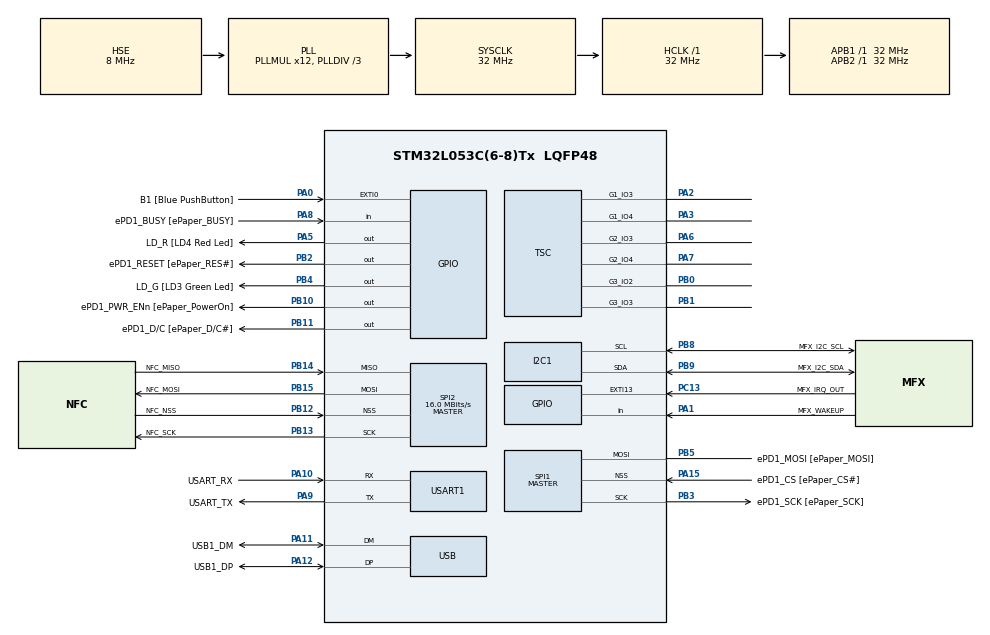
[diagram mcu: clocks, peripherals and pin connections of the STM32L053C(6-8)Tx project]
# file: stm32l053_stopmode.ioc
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Mcu.Family=STM32L0
Mcu.Name=STM32L053C(6-8)Tx
Mcu.Package=LQFP48
PA0.GPIO_Label=B1 [Blue PushButton]
PA0.GPIO_ModeDefaultEXTI=GPIO_MODE_EVT_RISING
PA0.GPIO_PuPd=GPIO_NOPULL
PA0.Signal=GPXTI0
PA1.GPIO_Label=MFX_WAKEUP
PA1.Signal=GPIO_Input
PA10.GPIO_Label=USART_RX
PA10.Mode=Asynchronous
PA10.Signal=USART1_RX
PA11.GPIO_Label=USB1_DM
PA11.Mode=Device
PA11.Signal=USB_DM
PA12.GPIO_Label=USB1_DP
PA12.Mode=Device
PA12.Signal=USB_DP
PA13.GPIO_Label=SWDIO
PA13.Mode=Serial_Wire
PA13.Signal=SYS_SWDIO
PA14.GPIO_Label=SWCLK
PA14.Mode=Serial_Wire
PA14.Signal=SYS_SWCLK
PA15.GPIO_Label=ePD1_CS [ePaper_CS\#]
PA15.GPIO_Mode=GPIO_MODE_AF_PP
PA15.GPIO_PuPd=GPIO_NOPULL
PA15.GPIO_Speed=GPIO_SPEED_FREQ_LOW
PA15.Mode=NSS_Signal_Hard_Input
PA15.Signal=SPI1_NSS
PA2.Mode=G1_IO3-Channel
PA2.Signal=TSC_G1_IO3
PA3.Mode=G1_IO4-Sampling
PA3.Signal=TSC_G1_IO4
PA5.GPIO_Label=LD_R [LD4 Red Led]
PA5.GPIO_ModeDefaultOutputPP=GPIO_MODE_OUTPUT_PP
PA5.GPIO_PuPd=GPIO_NOPULL
PA5.GPIO_Speed=GPIO_SPEED_FREQ_LOW
PA5.Signal=GPIO_Output
PA6.Mode=G2_IO3-Channel
PA6.Signal=TSC_G2_IO3
PA7.Mode=G2_IO4-Sampling
PA7.Signal=TSC_G2_IO4
PA8.GPIO_Label=ePD1_BUSY [ePaper_BUSY]
PA8.GPIO_Mode=GPIO_MODE_INPUT
PA8.GPIO_PuPd=GPIO_NOPULL
PA8.Signal=GPIO_Input
PA9.GPIO_Label=USART_TX
PA9.Mode=Asynchronous
PA9.Signal=USART1_TX
PB0.Mode=G3_IO2-Channel
PB0.Signal=TSC_G3_IO2
PB1.Mode=G3_IO3-Sampling
PB1.Signal=TSC_G3_IO3
PB10.GPIO_Label=ePD1_PWR_ENn [ePaper_PowerOn]
PB10.GPIO_ModeDefaultOutputPP=GPIO_MODE_OUTPUT_PP
PB10.GPIO_PuPd=GPIO_NOPULL
PB10.GPIO_Speed=GPIO_SPEED_FREQ_LOW
PB10.Signal=GPIO_Output
PB11.GPIO_Label=ePD1_D/C [ePaper_D/C\#]
PB11.GPIO_ModeDefaultOutputPP=GPIO_MODE_OUTPUT_PP
PB11.GPIO_PuPd=GPIO_NOPULL
PB11.GPIO_Speed=GPIO_SPEED_FREQ_LOW
PB11.Signal=GPIO_Output
PB12.GPIO_Label=NFC_NSS
PB12.Mode=NSS_Signal_Hard_Input
PB12.Signal=SPI2_NSS
PB13.GPIO_Label=NFC_SCK
PB13.Mode=Full_Duplex_Master
PB13.Signal=SPI2_SCK
PB14.GPIO_Label=NFC_MISO
PB14.Mode=Full_Duplex_Master
PB14.Signal=SPI2_MISO
PB15.GPIO_Label=NFC_MOSI
PB15.Mode=Full_Duplex_Master
PB15.Signal=SPI2_MOSI
PB2.GPIO_Label=ePD1_RESET [ePaper_RES\#]
PB2.GPIO_ModeDefaultOutputPP=GPIO_MODE_OUTPUT_PP
PB2.GPIO_PuPd=GPIO_NOPULL
PB2.GPIO_Speed=GPIO_SPEED_FREQ_LOW
PB2.Signal=GPIO_Output
PB3.GPIO_Label=ePD1_SCK [ePaper_SCK]
PB3.GPIO_Mode=GPIO_MODE_AF_PP
PB3.GPIO_PuPd=GPIO_NOPULL
PB3.GPIO_Speed=GPIO_SPEED_FREQ_LOW
PB3.Mode=Simplex_Bidirectional_Master
PB3.Signal=SPI1_SCK
PB4.GPIO_Label=LD_G [LD3 Green Led]
PB4.GPIO_ModeDefaultOutputPP=GPIO_MODE_OUTPUT_PP
PB4.GPIO_PuPd=GPIO_NOPULL
PB4.GPIO_Speed=GPIO_SPEED_FREQ_LOW
PB4.Signal=GPIO_Output
PB5.GPIO_Label=ePD1_MOSI [ePaper_MOSI]
PB5.GPIO_Mode=GPIO_MODE_AF_PP
PB5.GPIO_PuPd=GPIO_NOPULL
PB5.GPIO_Speed=GPIO_SPEED_FREQ_LOW
PB5.Mode=Simplex_Bidirectional_Master
PB5.Signal=SPI1_MOSI
PB8.GPIO_Label=MFX_I2C_SCL
PB8.Mode=I2C
PB8.Signal=I2C1_SCL
PB9.GPIO_Label=MFX_I2C_SDA
PB9.Mode=I2C
PB9.Signal=I2C1_SDA
PC13.GPIO_Label=MFX_IRQ_OUT
PC13.Signal=GPXTI13
PC14-OSC32_IN.GPIO_Label=PC14-OSC32_IN
PC14-OSC32_IN.Signal=RCC_OSC32_IN
PC15-OSC32_OUT.GPIO_Label=PC15-OSC32_OUT
PC15-OSC32_OUT.Signal=RCC_OSC32_OUT
PH0-OSC_IN.GPIO_Label=MCO
PH0-OSC_IN.Mode=HSE-External-Clock-Source
PH0-OSC_IN.Signal=RCC_OSC_IN
ProjectManager.HeapSize=0x200
ProjectManager.StackSize=0x400
ProjectManager.TargetToolchain=Makefile
RCC.AHBFreq_Value=32000000
RCC.APB1Freq_Value=32000000
RCC.APB1TimFreq_Value=32000000
RCC.APB2Freq_Value=32000000
RCC.APB2TimFreq_Value=32000000
RCC.HCLKFreq_Value=32000000
RCC.HSE_VALUE=8000000
RCC.HSI16_VALUE=16000000
RCC.HSI48MClockSelection=RCC_USBCLKSOURCE_HSI48
RCC.HSI48_VALUE=48000000
RCC.HSI_VALUE=16000000
RCC.LSE_VALUE=32768
RCC.MSI_VALUE=2097000
RCC.PLLDIV=RCC_PLLDIV_3
RCC.PLLMUL=RCC_PLLMUL_12
RCC.PLLSourceVirtual=RCC_PLLSOURCE_HSE
RCC.RTCClockSelectionVirtual=RCC_RTCCLKSOURCE_LSE
RCC.SYSCLKFreq_VALUE=32000000
RCC.SYSCLKSource=RCC_SYSCLKSOURCE_PLLCLK
RCC.VCOOutputFreq_Value=96000000
SPI1.CalculateBaudRate-Simplex_Bidirectional_Master=16.0 MBits/s
SPI1.Direction=SPI_DIRECTION_1LINE
SPI1.Direction-Simplex_Bidirectional_Master=SPI_DIRECTION_1LINE
SPI1.Mode=SPI_MODE_MASTER
SPI1.Mode-Simplex_Bidirectional_Master=SPI_MODE_MASTER
SPI1.NSS-Simplex_Bidirectional_Master=SPI_NSS_HARD_OUTPUT
SPI1.TIMode-Simplex_Bidirectional_Master=SPI_TIMODE_DISABLE
SPI1.VirtualNSS=VM_NSSHARD
SPI1.VirtualType=VM_MASTER
SPI2.CalculateBaudRate=16.0 MBits/s
SPI2.Direction=SPI_DIRECTION_2LINES
SPI2.Mode=SPI_MODE_MASTER
SPI2.VirtualNSS=VM_NSSHARD
SPI2.VirtualType=VM_MASTER
USART1.VirtualMode-Asynchronous=VM_ASYNC
board=32L0538DISCOVERY

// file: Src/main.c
/* USER CODE BEGIN Header */
/**
  ******************************************************************************
  * @file           : main.c
  * @brief          : Main program body
  ******************************************************************************
  ** This notice applies to any and all portions of this file
  * that are not between comment pairs USER CODE BEGIN and
  * USER CODE END. Other portions of this file, whether
  * inserted by the user or by software development tools
  * are owned by their respective copyright owners.
  *
  * COPYRIGHT(c) 2019 STMicroelectronics
  *
  * Redistribution and use in source and binary forms, with or without modification,
  * are permitted provided that the following conditions are met:
  *   1. Redistributions of source code must retain the above copyright notice,
  *      this list of conditions and the following disclaimer.
  *   2. Redistributions in binary form must reproduce the above copyright notice,
  *      this list of conditions and the following disclaimer in the documentation
  *      and/or other materials provided with the distribution.
  *   3. Neither the name of STMicroelectronics nor the names of its contributors
  *      may be used to endorse or promote products derived from this software
  *      without specific prior written permission.
  *
  * THIS SOFTWARE IS PROVIDED BY THE COPYRIGHT HOLDERS AND CONTRIBUTORS "AS IS"
  * AND ANY EXPRESS OR IMPLIED WARRANTIES, INCLUDING, BUT NOT LIMITED TO, THE
  * IMPLIED WARRANTIES OF MERCHANTABILITY AND FITNESS FOR A PARTICULAR PURPOSE ARE
  * DISCLAIMED. IN NO EVENT SHALL THE COPYRIGHT HOLDER OR CONTRIBUTORS BE LIABLE
  * FOR ANY DIRECT, INDIRECT, INCIDENTAL, SPECIAL, EXEMPLARY, OR CONSEQUENTIAL
  * DAMAGES (INCLUDING, BUT NOT LIMITED TO, PROCUREMENT OF SUBSTITUTE GOODS OR
  * SERVICES; LOSS OF USE, DATA, OR PROFITS; OR BUSINESS INTERRUPTION) HOWEVER
  * CAUSED AND ON ANY THEORY OF LIABILITY, WHETHER IN CONTRACT, STRICT LIABILITY,
  * OR TORT (INCLUDING NEGLIGENCE OR OTHERWISE) ARISING IN ANY WAY OUT OF THE USE
  * OF THIS SOFTWARE, EVEN IF ADVISED OF THE POSSIBILITY OF SUCH DAMAGE.
  *
  ******************************************************************************
  */
/* USER CODE END Header */

#include "main.h"

I2C_HandleTypeDef hi2c1;

SPI_HandleTypeDef hspi1;
SPI_HandleTypeDef hspi2;

TSC_HandleTypeDef htsc;

UART_HandleTypeDef huart1;

PCD_HandleTypeDef hpcd_USB_FS;

void SystemClock_Config(void);
static void MX_GPIO_Init(void);
static void MX_I2C1_Init(void);
static void MX_SPI1_Init(void);
static void MX_SPI2_Init(void);
static void MX_TSC_Init(void);
static void MX_USART1_UART_Init(void);
static void MX_USB_PCD_Init(void);

int main(void)
{

  /* MCU Configuration--------------------------------------------------------*/

  /* Reset of all peripherals, Initializes the Flash interface and the Systick. */
  HAL_Init();

  /* Configure the system clock */
  SystemClock_Config();

  /* Initialize all configured peripherals */
  MX_GPIO_Init();
  MX_I2C1_Init();
  MX_SPI1_Init();
  MX_SPI2_Init();
  MX_TSC_Init();
  MX_USART1_UART_Init();
  MX_USB_PCD_Init();
  /* USER CODE BEGIN 2 */

  RCC_OscInitTypeDef RCC_OscInitStruct;
  RCC_ClkInitTypeDef RCC_ClkInitStruct;

  RCC_OscInitStruct.OscillatorType = RCC_OSCILLATORTYPE_HSE|RCC_OSCILLATORTYPE_HSI48;
  RCC_OscInitStruct.HSEState = RCC_HSE_BYPASS;
  RCC_OscInitStruct.HSI48State = RCC_HSI48_ON;
  RCC_OscInitStruct.PLL.PLLState = RCC_PLL_ON;
  RCC_OscInitStruct.PLL.PLLSource = RCC_PLLSOURCE_HSE;
  RCC_OscInitStruct.PLL.PLLMUL = RCC_PLLMUL_12;
  RCC_OscInitStruct.PLL.PLLDIV = RCC_PLLDIV_3;

  RCC_ClkInitStruct.ClockType = RCC_CLOCKTYPE_HCLK|RCC_CLOCKTYPE_SYSCLK
                              |RCC_CLOCKTYPE_PCLK1|RCC_CLOCKTYPE_PCLK2;
  RCC_ClkInitStruct.SYSCLKSource = RCC_SYSCLKSOURCE_PLLCLK;
  RCC_ClkInitStruct.AHBCLKDivider = RCC_SYSCLK_DIV1;
  RCC_ClkInitStruct.APB1CLKDivider = RCC_HCLK_DIV1;
  RCC_ClkInitStruct.APB2CLKDivider = RCC_HCLK_DIV1;

  const char *str[] = { "tick\r\n",
                        "getting sleepy\r\n",
                        "awake again\r\n" };

  /* USER CODE END 2 */

  /* Infinite loop */
  /* USER CODE BEGIN WHILE */
  while (1)
  {
      /* emit idle message on uart */
      HAL_UART_Transmit(&huart1, str[0], strlen(str[0]), HAL_MAX_DELAY);

      /* toggle green LED */
      HAL_GPIO_WritePin(LD_G_GPIO_Port, LD_G_Pin, GPIO_PIN_SET);
      HAL_Delay(100);
      HAL_GPIO_WritePin(LD_G_GPIO_Port, LD_G_Pin, GPIO_PIN_RESET);
      HAL_Delay(100);

      /* if blue user pushbutton is pressed */
      if (HAL_GPIO_ReadPin(B1_GPIO_Port, B1_Pin)) {

          /* emit low power message on uart */
          HAL_UART_Transmit(&huart1, str[1], strlen(str[1]), HAL_MAX_DELAY);

          /* turn on red LED */
          HAL_GPIO_WritePin(LD_R_GPIO_Port, LD_R_Pin, GPIO_PIN_SET);

          /* enter STOP mode (wait for EXTI or peripheral activity */
          HAL_PWR_EnterSTOPMode(PWR_LOWPOWERREGULATOR_ON, PWR_STOPENTRY_WFI);

          /* reconfigure clocks? */
          HAL_RCC_OscConfig(&RCC_OscInitStruct);
          HAL_RCC_ClockConfig(&RCC_ClkInitStruct, FLASH_LATENCY_1);

          /* emit wake up message on uart */
          HAL_UART_Transmit(&huart1, str[2], strlen(str[2]), HAL_MAX_DELAY);

          /* turn off red LED */
          HAL_GPIO_WritePin(LD_R_GPIO_Port, LD_R_Pin, GPIO_PIN_RESET);
      }

    /* USER CODE END WHILE */

  }
}

void SystemClock_Config(void)
{
  RCC_OscInitTypeDef RCC_OscInitStruct = {0};
  RCC_ClkInitTypeDef RCC_ClkInitStruct = {0};
  RCC_PeriphCLKInitTypeDef PeriphClkInit = {0};

  /**Configure the main internal regulator output voltage
  */
  __HAL_PWR_VOLTAGESCALING_CONFIG(PWR_REGULATOR_VOLTAGE_SCALE1);
  /**Initializes the CPU, AHB and APB busses clocks
  */
  RCC_OscInitStruct.OscillatorType = RCC_OSCILLATORTYPE_HSE|RCC_OSCILLATORTYPE_HSI48;
  RCC_OscInitStruct.HSEState = RCC_HSE_BYPASS;
  RCC_OscInitStruct.HSI48State = RCC_HSI48_ON;
  RCC_OscInitStruct.PLL.PLLState = RCC_PLL_ON;
  RCC_OscInitStruct.PLL.PLLSource = RCC_PLLSOURCE_HSE;
  RCC_OscInitStruct.PLL.PLLMUL = RCC_PLLMUL_12;
  RCC_OscInitStruct.PLL.PLLDIV = RCC_PLLDIV_3;
  if (HAL_RCC_OscConfig(&RCC_OscInitStruct) != HAL_OK)
  {
    Error_Handler();
  }
  /**Initializes the CPU, AHB and APB busses clocks
  */
  RCC_ClkInitStruct.ClockType = RCC_CLOCKTYPE_HCLK|RCC_CLOCKTYPE_SYSCLK
                              |RCC_CLOCKTYPE_PCLK1|RCC_CLOCKTYPE_PCLK2;
  RCC_ClkInitStruct.SYSCLKSource = RCC_SYSCLKSOURCE_PLLCLK;
  RCC_ClkInitStruct.AHBCLKDivider = RCC_SYSCLK_DIV1;
  RCC_ClkInitStruct.APB1CLKDivider = RCC_HCLK_DIV1;
  RCC_ClkInitStruct.APB2CLKDivider = RCC_HCLK_DIV1;

  if (HAL_RCC_ClockConfig(&RCC_ClkInitStruct, FLASH_LATENCY_1) != HAL_OK)
  {
    Error_Handler();
  }
  PeriphClkInit.PeriphClockSelection = RCC_PERIPHCLK_USART1|RCC_PERIPHCLK_I2C1
                              |RCC_PERIPHCLK_USB;
  PeriphClkInit.Usart1ClockSelection = RCC_USART1CLKSOURCE_PCLK2;
  PeriphClkInit.I2c1ClockSelection = RCC_I2C1CLKSOURCE_PCLK1;
  PeriphClkInit.UsbClockSelection = RCC_USBCLKSOURCE_HSI48;
  if (HAL_RCCEx_PeriphCLKConfig(&PeriphClkInit) != HAL_OK)
  {
    Error_Handler();
  }
}

static void MX_I2C1_Init(void)
{

  hi2c1.Instance = I2C1;
  hi2c1.Init.Timing = 0x00000708;
  hi2c1.Init.OwnAddress1 = 0;
  hi2c1.Init.AddressingMode = I2C_ADDRESSINGMODE_7BIT;
  hi2c1.Init.DualAddressMode = I2C_DUALADDRESS_DISABLE;
  hi2c1.Init.OwnAddress2 = 0;
  hi2c1.Init.OwnAddress2Masks = I2C_OA2_NOMASK;
  hi2c1.Init.GeneralCallMode = I2C_GENERALCALL_DISABLE;
  hi2c1.Init.NoStretchMode = I2C_NOSTRETCH_DISABLE;
  if (HAL_I2C_Init(&hi2c1) != HAL_OK)
  {
    Error_Handler();
  }
  /**Configure Analogue filter
  */
  if (HAL_I2CEx_ConfigAnalogFilter(&hi2c1, I2C_ANALOGFILTER_ENABLE) != HAL_OK)
  {
    Error_Handler();
  }
  /**Configure Digital filter
  */
  if (HAL_I2CEx_ConfigDigitalFilter(&hi2c1, 0) != HAL_OK)
  {
    Error_Handler();
  }

}

static void MX_SPI1_Init(void)
{

  /* SPI1 parameter configuration*/
  hspi1.Instance = SPI1;
  hspi1.Init.Mode = SPI_MODE_MASTER;
  hspi1.Init.Direction = SPI_DIRECTION_1LINE;
  hspi1.Init.DataSize = SPI_DATASIZE_8BIT;
  hspi1.Init.CLKPolarity = SPI_POLARITY_LOW;
  hspi1.Init.CLKPhase = SPI_PHASE_1EDGE;
  hspi1.Init.NSS = SPI_NSS_HARD_INPUT;
  hspi1.Init.BaudRatePrescaler = SPI_BAUDRATEPRESCALER_2;
  hspi1.Init.FirstBit = SPI_FIRSTBIT_MSB;
  hspi1.Init.TIMode = SPI_TIMODE_DISABLE;
  hspi1.Init.CRCCalculation = SPI_CRCCALCULATION_DISABLE;
  hspi1.Init.CRCPolynomial = 7;
  if (HAL_SPI_Init(&hspi1) != HAL_OK)
  {
    Error_Handler();
  }

}

static void MX_SPI2_Init(void)
{

  /* SPI2 parameter configuration*/
  hspi2.Instance = SPI2;
  hspi2.Init.Mode = SPI_MODE_MASTER;
  hspi2.Init.Direction = SPI_DIRECTION_2LINES;
  hspi2.Init.DataSize = SPI_DATASIZE_8BIT;
  hspi2.Init.CLKPolarity = SPI_POLARITY_LOW;
  hspi2.Init.CLKPhase = SPI_PHASE_1EDGE;
  hspi2.Init.NSS = SPI_NSS_HARD_INPUT;
  hspi2.Init.BaudRatePrescaler = SPI_BAUDRATEPRESCALER_2;
  hspi2.Init.FirstBit = SPI_FIRSTBIT_MSB;
  hspi2.Init.TIMode = SPI_TIMODE_DISABLE;
  hspi2.Init.CRCCalculation = SPI_CRCCALCULATION_DISABLE;
  hspi2.Init.CRCPolynomial = 7;
  if (HAL_SPI_Init(&hspi2) != HAL_OK)
  {
    Error_Handler();
  }

}

static void MX_TSC_Init(void)
{

  /**Configure the TSC peripheral
  */
  htsc.Instance = TSC;
  htsc.Init.CTPulseHighLength = TSC_CTPH_2CYCLES;
  htsc.Init.CTPulseLowLength = TSC_CTPL_2CYCLES;
  htsc.Init.SpreadSpectrum = DISABLE;
  htsc.Init.SpreadSpectrumDeviation = 1;
  htsc.Init.SpreadSpectrumPrescaler = TSC_SS_PRESC_DIV1;
  htsc.Init.PulseGeneratorPrescaler = TSC_PG_PRESC_DIV4;
  htsc.Init.MaxCountValue = TSC_MCV_8191;
  htsc.Init.IODefaultMode = TSC_IODEF_OUT_PP_LOW;
  htsc.Init.SynchroPinPolarity = TSC_SYNC_POLARITY_FALLING;
  htsc.Init.AcquisitionMode = TSC_ACQ_MODE_NORMAL;
  htsc.Init.MaxCountInterrupt = DISABLE;
  htsc.Init.ChannelIOs = TSC_GROUP1_IO3|TSC_GROUP2_IO3|TSC_GROUP3_IO2;
  htsc.Init.ShieldIOs = 0;
  htsc.Init.SamplingIOs = TSC_GROUP1_IO4|TSC_GROUP2_IO4|TSC_GROUP3_IO3;
  if (HAL_TSC_Init(&htsc) != HAL_OK)
  {
    Error_Handler();
  }

}

static void MX_USART1_UART_Init(void)
{

  huart1.Instance = USART1;
  huart1.Init.BaudRate = 115200;
  huart1.Init.WordLength = UART_WORDLENGTH_8B;
  huart1.Init.StopBits = UART_STOPBITS_1;
  huart1.Init.Parity = UART_PARITY_NONE;
  huart1.Init.Mode = UART_MODE_TX_RX;
  huart1.Init.HwFlowCtl = UART_HWCONTROL_NONE;
  huart1.Init.OverSampling = UART_OVERSAMPLING_16;
  huart1.Init.OneBitSampling = UART_ONE_BIT_SAMPLE_DISABLE;
  huart1.AdvancedInit.AdvFeatureInit = UART_ADVFEATURE_NO_INIT;
  if (HAL_UART_Init(&huart1) != HAL_OK)
  {
    Error_Handler();
  }

}

static void MX_USB_PCD_Init(void)
{

  hpcd_USB_FS.Instance = USB;
  hpcd_USB_FS.Init.dev_endpoints = 8;
  hpcd_USB_FS.Init.speed = PCD_SPEED_FULL;
  hpcd_USB_FS.Init.ep0_mps = DEP0CTL_MPS_64;
  hpcd_USB_FS.Init.phy_itface = PCD_PHY_EMBEDDED;
  hpcd_USB_FS.Init.low_power_enable = DISABLE;
  hpcd_USB_FS.Init.lpm_enable = DISABLE;
  hpcd_USB_FS.Init.battery_charging_enable = DISABLE;
  if (HAL_PCD_Init(&hpcd_USB_FS) != HAL_OK)
  {
    Error_Handler();
  }

}

static void MX_GPIO_Init(void)
{
  GPIO_InitTypeDef GPIO_InitStruct = {0};

  /* GPIO Ports Clock Enable */
  __HAL_RCC_GPIOC_CLK_ENABLE();
  __HAL_RCC_GPIOH_CLK_ENABLE();
  __HAL_RCC_GPIOA_CLK_ENABLE();
  __HAL_RCC_GPIOB_CLK_ENABLE();

  /*Configure GPIO pin Output Level */
  HAL_GPIO_WritePin(LD_R_GPIO_Port, LD_R_Pin, GPIO_PIN_RESET);

  /*Configure GPIO pin Output Level */
  HAL_GPIO_WritePin(GPIOB, ePD1_RESET_Pin|ePD1_PWR_ENn_Pin|ePD1_D_C_Pin|LD_G_Pin, GPIO_PIN_RESET);

  /*Configure GPIO pin : MFX_IRQ_OUT_Pin */
  GPIO_InitStruct.Pin = MFX_IRQ_OUT_Pin;
  GPIO_InitStruct.Mode = GPIO_MODE_IT_RISING;
  GPIO_InitStruct.Pull = GPIO_NOPULL;
  HAL_GPIO_Init(MFX_IRQ_OUT_GPIO_Port, &GPIO_InitStruct);

  /*Configure GPIO pin : B1_Pin */
  GPIO_InitStruct.Pin = B1_Pin;
  GPIO_InitStruct.Mode = GPIO_MODE_EVT_RISING;
  GPIO_InitStruct.Pull = GPIO_NOPULL;
  HAL_GPIO_Init(B1_GPIO_Port, &GPIO_InitStruct);

  /*Configure GPIO pins : MFX_WAKEUP_Pin ePD1_BUSY_Pin */
  GPIO_InitStruct.Pin = MFX_WAKEUP_Pin|ePD1_BUSY_Pin;
  GPIO_InitStruct.Mode = GPIO_MODE_INPUT;
  GPIO_InitStruct.Pull = GPIO_NOPULL;
  HAL_GPIO_Init(GPIOA, &GPIO_InitStruct);

  /*Configure GPIO pin : LD_R_Pin */
  GPIO_InitStruct.Pin = LD_R_Pin;
  GPIO_InitStruct.Mode = GPIO_MODE_OUTPUT_PP;
  GPIO_InitStruct.Pull = GPIO_NOPULL;
  GPIO_InitStruct.Speed = GPIO_SPEED_FREQ_LOW;
  HAL_GPIO_Init(LD_R_GPIO_Port, &GPIO_InitStruct);

  /*Configure GPIO pins : ePD1_RESET_Pin ePD1_PWR_ENn_Pin ePD1_D_C_Pin LD_G_Pin */
  GPIO_InitStruct.Pin = ePD1_RESET_Pin|ePD1_PWR_ENn_Pin|ePD1_D_C_Pin|LD_G_Pin;
  GPIO_InitStruct.Mode = GPIO_MODE_OUTPUT_PP;
  GPIO_InitStruct.Pull = GPIO_NOPULL;
  GPIO_InitStruct.Speed = GPIO_SPEED_FREQ_LOW;
  HAL_GPIO_Init(GPIOB, &GPIO_InitStruct);

}

void Error_Handler(void)
{
}

/************************ (C) COPYRIGHT STMicroelectronics *****END OF FILE****/
